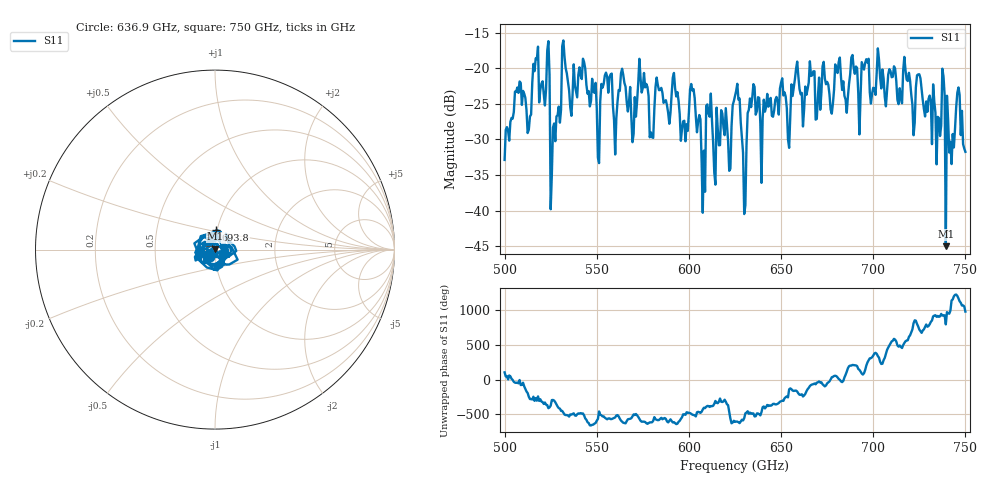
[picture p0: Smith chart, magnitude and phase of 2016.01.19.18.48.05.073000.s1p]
!Created with skrf (http://scikit-rf.org).
# GHz S RI R 50.0
!freq ReS11 ImS11
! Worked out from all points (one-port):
!   401 points, 500 GHz to 750 GHz, reference 50 ohm
!   lowest |S11| = -45.0 dB at 739.4 GHz (marker M1), VSWR 1.01, Z = 50.2 + j0.531 ohm
!   |S11| at or under -10 dB: start of sweep to end of sweep
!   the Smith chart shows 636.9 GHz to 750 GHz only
!   S11 on the Smith chart (normalised r, x): 636.9 GHz: 0.94, -0.08; 693.8 GHz: 0.99, +0.22; 750 GHz: 0.98, -0.05
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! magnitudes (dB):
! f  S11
! 500 GHz  -32.9
! 507.5 GHz  -23.5
! 513.1 GHz  -28.6
! 516.9 GHz  -18.6
! 523.1 GHz  -17.6
! 526.2 GHz  -28.3
! 531.2 GHz  -16.9
! 551.2 GHz  -33.3
! 562.5 GHz  -23.2
! 570 GHz  -29.2
! 574.4 GHz  -23.4
! 580 GHz  -29.7
! 583.1 GHz  -22.3
! 593.8 GHz  -23.4
! 601.9 GHz  -23.1
! 607.5 GHz  -40.3
! 610.6 GHz  -26.4
! 621.9 GHz  -34.4
! 625 GHz  -23.9
! 630 GHz  -40.5
! 636.9 GHz  -26.0
! 656.2 GHz  -23.9
! 687.5 GHz  -20.8
! 693.8 GHz  -19.1
! 718.8 GHz  -21.8
! 739.4 GHz  -45.0
! 746.9 GHz  -23.8
! 750 GHz  -31.7
